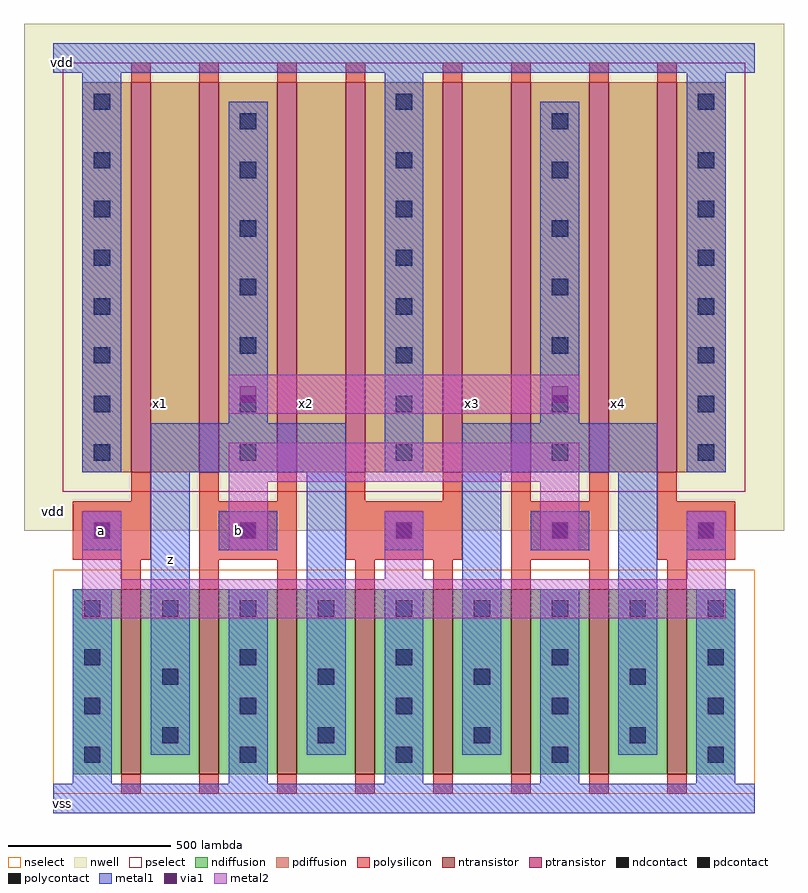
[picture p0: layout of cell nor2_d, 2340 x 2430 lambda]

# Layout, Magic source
magic
tech amic5n
<< nwell >>
rect -90 870 2250 2430
<< nselect >>
rect 0 60 2160 750
<< pselect >>
rect 30 990 2130 2310
<< ntransistor >>
rect 210 120 270 690
rect 450 120 510 690
rect 690 120 750 690
rect 930 120 990 690
rect 1170 120 1230 690
rect 1410 120 1470 690
rect 1650 120 1710 690
rect 1890 120 1950 690
<< ptransistor >>
rect 240 1050 300 2250
rect 450 1050 510 2250
rect 690 1050 750 2250
rect 900 1050 960 2250
rect 1200 1050 1260 2250
rect 1410 1050 1470 2250
rect 1650 1050 1710 2250
rect 1860 1050 1920 2250
<< ndiffusion >>
rect 60 120 210 690
rect 270 120 450 690
rect 510 120 690 690
rect 750 120 930 690
rect 990 120 1170 690
rect 1230 120 1410 690
rect 1470 120 1650 690
rect 1710 120 1890 690
rect 1950 120 2100 690
<< pdiffusion >>
rect 90 1050 240 2250
rect 300 1050 450 2250
rect 510 1050 690 2250
rect 750 1050 900 2250
rect 960 1050 1200 2250
rect 1260 1050 1410 2250
rect 1470 1050 1650 2250
rect 1710 1050 1860 2250
rect 1920 1050 2070 2250
<< polysilicon >>
rect 240 2250 300 2310
rect 450 2250 510 2310
rect 690 2250 750 2310
rect 900 2250 960 2310
rect 1200 2250 1260 2310
rect 1410 2250 1470 2310
rect 1650 2250 1710 2310
rect 1860 2250 1920 2310
rect 240 960 300 1050
rect 60 780 300 960
rect 450 960 510 1050
rect 690 960 750 1050
rect 450 780 750 960
rect 900 960 960 1050
rect 1200 960 1260 1050
rect 900 780 1260 960
rect 1410 960 1470 1050
rect 1650 960 1710 1050
rect 1410 780 1710 960
rect 1860 960 1920 1050
rect 1860 780 2100 960
rect 210 690 270 780
rect 450 690 510 780
rect 690 690 750 780
rect 930 690 990 780
rect 1170 690 1230 780
rect 1410 690 1470 780
rect 1650 690 1710 780
rect 1890 690 1950 780
rect 210 60 270 120
rect 450 60 510 120
rect 690 60 750 120
rect 930 60 990 120
rect 1170 60 1230 120
rect 1410 60 1470 120
rect 1650 60 1710 120
rect 1890 60 1950 120
<< pdcontact >>
rect 125 2165 175 2215
<< pdcontact >>
rect 1055 2165 1105 2215
<< pdcontact >>
rect 1985 2165 2035 2215
<< pdcontact >>
rect 575 2105 625 2155
<< pdcontact >>
rect 1535 2105 1585 2155
<< pdcontact >>
rect 125 1985 175 2035
<< pdcontact >>
rect 575 1955 625 2005
<< pdcontact >>
rect 1055 1985 1105 2035
<< pdcontact >>
rect 1535 1955 1585 2005
<< pdcontact >>
rect 1985 1985 2035 2035
<< pdcontact >>
rect 125 1835 175 1885
<< pdcontact >>
rect 1055 1835 1105 1885
<< pdcontact >>
rect 1985 1835 2035 1885
<< pdcontact >>
rect 575 1775 625 1825
<< pdcontact >>
rect 1535 1775 1585 1825
<< pdcontact >>
rect 125 1685 175 1735
<< pdcontact >>
rect 1055 1685 1105 1735
<< pdcontact >>
rect 1985 1685 2035 1735
<< pdcontact >>
rect 575 1595 625 1645
<< pdcontact >>
rect 1535 1595 1585 1645
<< pdcontact >>
rect 125 1535 175 1585
<< pdcontact >>
rect 1055 1535 1105 1585
<< pdcontact >>
rect 1985 1535 2035 1585
<< pdcontact >>
rect 125 1385 175 1435
<< pdcontact >>
rect 575 1415 625 1465
<< pdcontact >>
rect 1055 1385 1105 1435
<< pdcontact >>
rect 1535 1415 1585 1465
<< pdcontact >>
rect 1985 1385 2035 1435
<< pdcontact >>
rect 125 1235 175 1285
<< pdcontact >>
rect 575 1235 625 1285
<< pdcontact >>
rect 1055 1235 1105 1285
<< pdcontact >>
rect 1535 1235 1585 1285
<< pdcontact >>
rect 1985 1235 2035 1285
<< pdcontact >>
rect 125 1085 175 1135
<< pdcontact >>
rect 575 1085 625 1135
<< pdcontact >>
rect 1055 1085 1105 1135
<< pdcontact >>
rect 1535 1085 1585 1135
<< pdcontact >>
rect 1985 1085 2035 1135
<< polycontact >>
rect 125 845 175 895
<< polycontact >>
rect 575 845 625 895
<< polycontact >>
rect 1055 845 1105 895
<< polycontact >>
rect 1535 845 1585 895
<< polycontact >>
rect 1985 845 2035 895
<< ndcontact >>
rect 95 605 145 655
<< ndcontact >>
rect 335 605 385 655
<< ndcontact >>
rect 575 605 625 655
<< ndcontact >>
rect 815 605 865 655
<< ndcontact >>
rect 1055 605 1105 655
<< ndcontact >>
rect 1295 605 1345 655
<< ndcontact >>
rect 1535 605 1585 655
<< ndcontact >>
rect 1775 605 1825 655
<< ndcontact >>
rect 2015 605 2065 655
<< ndcontact >>
rect 95 455 145 505
<< ndcontact >>
rect 575 455 625 505
<< ndcontact >>
rect 1055 455 1105 505
<< ndcontact >>
rect 1535 455 1585 505
<< ndcontact >>
rect 2015 455 2065 505
<< ndcontact >>
rect 335 395 385 445
<< ndcontact >>
rect 815 395 865 445
<< ndcontact >>
rect 1295 395 1345 445
<< ndcontact >>
rect 1775 395 1825 445
<< ndcontact >>
rect 95 305 145 355
<< ndcontact >>
rect 575 305 625 355
<< ndcontact >>
rect 1055 305 1105 355
<< ndcontact >>
rect 1535 305 1585 355
<< ndcontact >>
rect 2015 305 2065 355
<< ndcontact >>
rect 335 215 385 265
<< ndcontact >>
rect 815 215 865 265
<< ndcontact >>
rect 1295 215 1345 265
<< ndcontact >>
rect 1775 215 1825 265
<< ndcontact >>
rect 95 155 145 205
<< ndcontact >>
rect 575 155 625 205
<< ndcontact >>
rect 1055 155 1105 205
<< ndcontact >>
rect 1535 155 1585 205
<< ndcontact >>
rect 2015 155 2065 205
<< metal1 >>
rect 0 2280 2160 2370
rect 90 1050 210 2280
rect 540 1200 660 2190
rect 300 1050 900 1200
rect 1020 1050 1140 2280
rect 1500 1200 1620 2190
rect 1260 1050 1860 1200
rect 1950 1050 2070 2280
rect 90 810 210 930
rect 60 90 180 690
rect 300 180 420 1050
rect 510 810 690 930
rect 540 90 660 690
rect 780 180 900 1050
rect 1020 810 1140 930
rect 1020 90 1140 690
rect 1260 180 1380 1050
rect 1470 810 1650 930
rect 1500 90 1620 690
rect 1740 180 1860 1050
rect 1950 810 2070 930
rect 1980 90 2100 690
rect 0 0 2160 90
<< metal2 >>
rect 540 1230 1620 1350
rect 540 1020 1620 1140
rect 90 720 210 930
rect 540 810 660 1020
rect 1020 720 1140 930
rect 1500 810 1620 1020
rect 1950 720 2070 930
rect 90 600 2070 720
<< via1 >>
rect 575 1265 625 1315
rect 1535 1265 1585 1315
rect 125 845 175 895
rect 575 845 625 895
rect 1055 845 1105 895
rect 1535 845 1585 895
rect 1985 845 2035 895
<< labels >>
flabel metal1 s 30 30 30 30 2 FreeSans 400 0 0 0 vss
port 5 ne
flabel metal1 s 30 2310 30 2310 2 FreeSans 400 0 0 0 vdd
port 4 ne
flabel metal1 s 570 870 570 870 2 FreeSans 400 0 0 0 b
port 3 ne
flabel metal1 s 150 870 150 870 2 FreeSans 400 0 0 0 a
port 2 ne
flabel metal1 s 360 780 360 780 2 FreeSans 400 0 0 0 z
port 1 ne
flabel nwell  0 930 0 930 2 FreeSans 400 0 0 0 vdd
flabel ndiffusion s 330 1260 330 1260 2 FreeSans 400 0 0 0 x1
flabel ndiffusion s 780 1260 780 1260 2 FreeSans 400 0 0 0 x2
flabel ndiffusion s 1290 1260 1290 1260 2 FreeSans 400 0 0 0 x3
flabel ndiffusion s 1740 1260 1740 1260 2 FreeSans 400 0 0 0 x4
<< end >>
